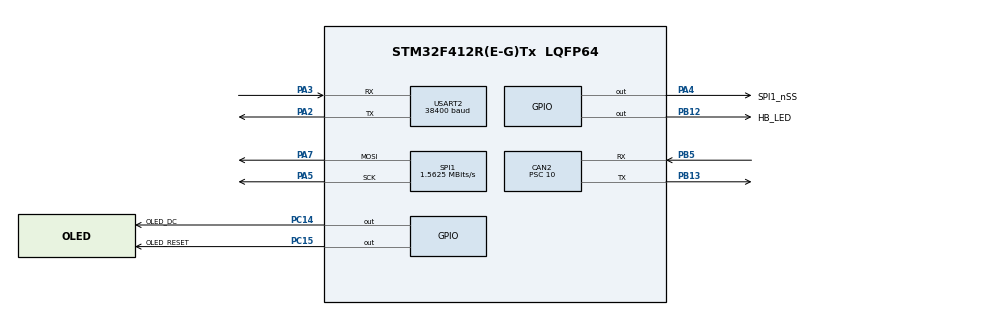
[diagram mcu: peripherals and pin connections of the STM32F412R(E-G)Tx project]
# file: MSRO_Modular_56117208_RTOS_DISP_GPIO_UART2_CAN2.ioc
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CAN2.BS1=CAN_BS1_16TQ
CAN2.BS2=CAN_BS2_3TQ
CAN2.CalculateTimeQuantum=200.0
CAN2.NART=ENABLE
CAN2.Prescaler=10
Dma.Request0=USART2_TX
Dma.Request1=SPI1_TX
Dma.SPI1_TX.1.Direction=DMA_MEMORY_TO_PERIPH
Dma.SPI1_TX.1.FIFOMode=DMA_FIFOMODE_DISABLE
Dma.SPI1_TX.1.Instance=DMA2_Stream2
Dma.SPI1_TX.1.MemDataAlignment=DMA_MDATAALIGN_BYTE
Dma.SPI1_TX.1.MemInc=DMA_MINC_ENABLE
Dma.SPI1_TX.1.Mode=DMA_NORMAL
Dma.SPI1_TX.1.PeriphDataAlignment=DMA_PDATAALIGN_BYTE
Dma.SPI1_TX.1.PeriphInc=DMA_PINC_DISABLE
Dma.SPI1_TX.1.Priority=DMA_PRIORITY_LOW
Dma.USART2_TX.0.Direction=DMA_MEMORY_TO_PERIPH
Dma.USART2_TX.0.FIFOMode=DMA_FIFOMODE_DISABLE
Dma.USART2_TX.0.Instance=DMA1_Stream6
Dma.USART2_TX.0.MemDataAlignment=DMA_MDATAALIGN_BYTE
Dma.USART2_TX.0.MemInc=DMA_MINC_ENABLE
Dma.USART2_TX.0.Mode=DMA_NORMAL
Dma.USART2_TX.0.PeriphDataAlignment=DMA_PDATAALIGN_BYTE
Dma.USART2_TX.0.PeriphInc=DMA_PINC_DISABLE
Dma.USART2_TX.0.Priority=DMA_PRIORITY_LOW
FREERTOS.Mutexes01=uart2_tx_buffer_mutex,Dynamic,NULL
FREERTOS.Queues01=UartRxQueue,64,uint8_t,0,Dynamic,NULL,NULL;CanRxQueue,16,can_msg_t,0,Dynamic,NULL,NULL;DisplayQueue,8,display_mode_t,0,Dynamic,NULL,NULL
FREERTOS.Tasks01=defaultTask,0,128,StartDefaultTask,Default,NULL,Dynamic,NULL,NULL;UartTask,0,128,uart_task,Default,NULL,Dynamic,NULL,NULL;CanTask,0,128,can_task_run,Default,NULL,Dynamic,NULL,NULL;DisplayTask,-3,128,display_task,Default,NULL,Dynamic,NULL,NULL
Mcu.Family=STM32F4
Mcu.Name=STM32F412R(E-G)Tx
Mcu.Package=LQFP64
NVIC.CAN2_RX0_IRQn=true\:5\:0\:false\:false\:true\:true\:true
NVIC.CAN2_RX1_IRQn=true\:5\:0\:false\:false\:true\:true\:true
NVIC.DMA1_Stream6_IRQn=true\:5\:0\:false\:false\:true\:true\:false
NVIC.DMA2_Stream2_IRQn=true\:5\:0\:false\:false\:true\:true\:false
NVIC.PriorityGroup=NVIC_PRIORITYGROUP_4
NVIC.TIM1_BRK_TIM9_IRQn=true\:0\:0\:false\:false\:true\:false\:false
NVIC.TimeBase=TIM1_BRK_TIM9_IRQn
NVIC.TimeBaseIP=TIM9
NVIC.USART2_IRQn=true\:5\:0\:false\:false\:true\:true\:true
PA2.Mode=Asynchronous
PA2.Signal=USART2_TX
PA3.Mode=Asynchronous
PA3.Signal=USART2_RX
PA4.GPIO_Label=SPI1_nSS
PA4.PinState=GPIO_PIN_SET
PA4.Signal=GPIO_Output
PA5.Mode=TX_Only_Simplex_Unidirect_Master
PA5.Signal=SPI1_SCK
PA7.Mode=TX_Only_Simplex_Unidirect_Master
PA7.Signal=SPI1_MOSI
PB12.GPIO_Label=HB_LED
PB12.Signal=GPIO_Output
PB13.Mode=Slave
PB13.Signal=CAN2_TX
PB5.Mode=Slave
PB5.Signal=CAN2_RX
PC14-OSC32_IN.GPIO_Label=OLED_DC
PC14-OSC32_IN.Signal=GPIO_Output
PC15-OSC32_OUT.GPIO_Label=OLED_RESET
PC15-OSC32_OUT.Signal=GPIO_Output
PH0\ -\ OSC_IN.Mode=HSE-External-Oscillator
PH0\ -\ OSC_IN.Signal=RCC_OSC_IN
PH1\ -\ OSC_OUT.Mode=HSE-External-Oscillator
PH1\ -\ OSC_OUT.Signal=RCC_OSC_OUT
ProjectManager.HeapSize=0x200
ProjectManager.StackSize=0x400
ProjectManager.TargetToolchain=TrueSTUDIO
RCC.AHBFreq_Value=100000000
RCC.APB1CLKDivider=RCC_HCLK_DIV2
RCC.APB1Freq_Value=50000000
RCC.APB1TimFreq_Value=100000000
RCC.APB2Freq_Value=100000000
RCC.APB2TimFreq_Value=100000000
RCC.CortexFreq_Value=100000000
RCC.HCLKFreq_Value=100000000
RCC.HSE_VALUE=12000000
RCC.PLLM=6
RCC.PLLN=100
RCC.PLLSourceVirtual=RCC_PLLSOURCE_HSE
RCC.SYSCLKFreq_VALUE=100000000
RCC.SYSCLKSource=RCC_SYSCLKSOURCE_PLLCLK
RCC.USBFreq_Value=100000000
RCC.VCOOutputFreq_Value=200000000
SPI1.BaudRatePrescaler=SPI_BAUDRATEPRESCALER_64
SPI1.CLKPhase=SPI_PHASE_2EDGE
SPI1.CLKPolarity=SPI_POLARITY_HIGH
SPI1.CalculateBaudRate=1.5625 MBits/s
SPI1.Direction=SPI_DIRECTION_2LINES
SPI1.Mode=SPI_MODE_MASTER
SPI1.VirtualType=VM_MASTER
USART2.BaudRate=38400
USART2.VirtualMode=VM_ASYNC
VP_FREERTOS_VS_ENABLE.Mode=Enabled
VP_SYS_VS_tim9.Mode=TIM9
board=custom

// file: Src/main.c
/* USER CODE BEGIN Header */
/**
  ******************************************************************************
  * @file           : main.c
  * @brief          : Main program body
  ******************************************************************************
  * This notice applies to any and all portions of this file
  * that are not between comment pairs USER CODE BEGIN and
  * USER CODE END. Other portions of this file, whether
  * inserted by the user or by software development tools
  * are owned by their respective copyright owners.
  *
  * Copyright (c) 2019 STMicroelectronics International N.V.
  * All rights reserved.
  *
  * Redistribution and use in source and binary forms, with or without
  * modification, are permitted, provided that the following conditions are met:
  *
  * 1. Redistribution of source code must retain the above copyright notice,
  *    this list of conditions and the following disclaimer.
  * 2. Redistributions in binary form must reproduce the above copyright notice,
  *    this list of conditions and the following disclaimer in the documentation
  *    and/or other materials provided with the distribution.
  * 3. Neither the name of STMicroelectronics nor the names of other
  *    contributors to this software may be used to endorse or promote products
  *    derived from this software without specific written permission.
  * 4. This software, including modifications and/or derivative works of this
  *    software, must execute solely and exclusively on microcontroller or
  *    microprocessor devices manufactured by or for STMicroelectronics.
  * 5. Redistribution and use of this software other than as permitted under
  *    this license is void and will automatically terminate your rights under
  *    this license.
  *
  * THIS SOFTWARE IS PROVIDED BY STMICROELECTRONICS AND CONTRIBUTORS "AS IS"
  * AND ANY EXPRESS, IMPLIED OR STATUTORY WARRANTIES, INCLUDING, BUT NOT
  * LIMITED TO, THE IMPLIED WARRANTIES OF MERCHANTABILITY, FITNESS FOR A
  * PARTICULAR PURPOSE AND NON-INFRINGEMENT OF THIRD PARTY INTELLECTUAL PROPERTY
  * RIGHTS ARE DISCLAIMED TO THE FULLEST EXTENT PERMITTED BY LAW. IN NO EVENT
  * SHALL STMICROELECTRONICS OR CONTRIBUTORS BE LIABLE FOR ANY DIRECT, INDIRECT,
  * INCIDENTAL, SPECIAL, EXEMPLARY, OR CONSEQUENTIAL DAMAGES (INCLUDING, BUT NOT
  * LIMITED TO, PROCUREMENT OF SUBSTITUTE GOODS OR SERVICES; LOSS OF USE, DATA,
  * OR PROFITS; OR BUSINESS INTERRUPTION) HOWEVER CAUSED AND ON ANY THEORY OF
  * LIABILITY, WHETHER IN CONTRACT, STRICT LIABILITY, OR TORT (INCLUDING
  * NEGLIGENCE OR OTHERWISE) ARISING IN ANY WAY OUT OF THE USE OF THIS SOFTWARE,
  * EVEN IF ADVISED OF THE POSSIBILITY OF SUCH DAMAGE.
  *
  ******************************************************************************
  */
/* USER CODE END Header */

#include "main.h"
#include "cmsis_os.h"
#include "can.h"
#include "dma.h"
#include "spi.h"
#include "usart.h"
#include "gpio.h"

/* USER CODE BEGIN Includes */
#include "stdbool.h"
#include "stdlib.h"
#include "stdio.h"
#include "string.h"

#include "oled.h"
#include "display.h"
/* USER CODE END Includes */

/* USER CODE BEGIN PV */
bool hb_led_state = false;

/* USER CODE END PV */

void SystemClock_Config(void);
void MX_FREERTOS_Init(void);

int main(void)
{

  /* MCU Configuration--------------------------------------------------------*/

  /* Reset of all peripherals, Initializes the Flash interface and the Systick. */
  HAL_Init();

  /* Configure the system clock */
  SystemClock_Config();

  /* Initialize all configured peripherals */
  MX_GPIO_Init();
  MX_DMA_Init();
  MX_USART2_UART_Init();
  MX_CAN2_Init();
  MX_SPI1_Init();
  /* USER CODE BEGIN 2 */
  USART_DMA_Init();

  SPI_DMA_Init();

  CAN2_ConfigFilters();
  CAN2_Start();
  CAN2_ActivateNotification();

  OLED_Init(0);
  display_init();

  /* USER CODE END 2 */

  /* Call init function for freertos objects (in freertos.c) */
  MX_FREERTOS_Init();

  /* Start scheduler */
  osKernelStart();

  /* We should never get here as control is now taken by the scheduler */

  /* Infinite loop */
  while (1)
  {

  }
}

void SystemClock_Config(void)
{
  LL_FLASH_SetLatency(LL_FLASH_LATENCY_3);

  if(LL_FLASH_GetLatency() != LL_FLASH_LATENCY_3)
  {
  Error_Handler();
  }
  LL_PWR_SetRegulVoltageScaling(LL_PWR_REGU_VOLTAGE_SCALE1);
  LL_RCC_HSE_Enable();

   /* Wait till HSE is ready */
  while(LL_RCC_HSE_IsReady() != 1)
  {

  }
  LL_RCC_PLL_ConfigDomain_SYS(LL_RCC_PLLSOURCE_HSE, LL_RCC_PLLM_DIV_6, 100, LL_RCC_PLLP_DIV_2);
  LL_RCC_PLL_Enable();

   /* Wait till PLL is ready */
  while(LL_RCC_PLL_IsReady() != 1)
  {

  }
  LL_RCC_SetAHBPrescaler(LL_RCC_SYSCLK_DIV_1);
  LL_RCC_SetAPB1Prescaler(LL_RCC_APB1_DIV_2);
  LL_RCC_SetAPB2Prescaler(LL_RCC_APB2_DIV_1);
  LL_RCC_SetSysClkSource(LL_RCC_SYS_CLKSOURCE_PLL);

   /* Wait till System clock is ready */
  while(LL_RCC_GetSysClkSource() != LL_RCC_SYS_CLKSOURCE_STATUS_PLL)
  {

  }
  LL_Init1msTick(100000000);
  LL_SYSTICK_SetClkSource(LL_SYSTICK_CLKSOURCE_HCLK);
  LL_SetSystemCoreClock(100000000);
  LL_RCC_SetTIMPrescaler(LL_RCC_TIM_PRESCALER_TWICE);
}

void HAL_TIM_PeriodElapsedCallback(TIM_HandleTypeDef *htim)
{
  if (htim->Instance == TIM9) {
    HAL_IncTick();
  }
}

void Error_Handler(void)
{
}

/************************ (C) COPYRIGHT STMicroelectronics *****END OF FILE****/

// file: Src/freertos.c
/* USER CODE BEGIN Header */
/**
  ******************************************************************************
  * File Name          : freertos.c
  * Description        : Code for freertos applications
  ******************************************************************************
  * This notice applies to any and all portions of this file
  * that are not between comment pairs USER CODE BEGIN and
  * USER CODE END. Other portions of this file, whether
  * inserted by the user or by software development tools
  * are owned by their respective copyright owners.
  *
  * Copyright (c) 2019 STMicroelectronics International N.V.
  * All rights reserved.
  *
  * Redistribution and use in source and binary forms, with or without
  * modification, are permitted, provided that the following conditions are met:
  *
  * 1. Redistribution of source code must retain the above copyright notice,
  *    this list of conditions and the following disclaimer.
  * 2. Redistributions in binary form must reproduce the above copyright notice,
  *    this list of conditions and the following disclaimer in the documentation
  *    and/or other materials provided with the distribution.
  * 3. Neither the name of STMicroelectronics nor the names of other
  *    contributors to this software may be used to endorse or promote products
  *    derived from this software without specific written permission.
  * 4. This software, including modifications and/or derivative works of this
  *    software, must execute solely and exclusively on microcontroller or
  *    microprocessor devices manufactured by or for STMicroelectronics.
  * 5. Redistribution and use of this software other than as permitted under
  *    this license is void and will automatically terminate your rights under
  *    this license.
  *
  * THIS SOFTWARE IS PROVIDED BY STMICROELECTRONICS AND CONTRIBUTORS "AS IS"
  * AND ANY EXPRESS, IMPLIED OR STATUTORY WARRANTIES, INCLUDING, BUT NOT
  * LIMITED TO, THE IMPLIED WARRANTIES OF MERCHANTABILITY, FITNESS FOR A
  * PARTICULAR PURPOSE AND NON-INFRINGEMENT OF THIRD PARTY INTELLECTUAL PROPERTY
  * RIGHTS ARE DISCLAIMED TO THE FULLEST EXTENT PERMITTED BY LAW. IN NO EVENT
  * SHALL STMICROELECTRONICS OR CONTRIBUTORS BE LIABLE FOR ANY DIRECT, INDIRECT,
  * INCIDENTAL, SPECIAL, EXEMPLARY, OR CONSEQUENTIAL DAMAGES (INCLUDING, BUT NOT
  * LIMITED TO, PROCUREMENT OF SUBSTITUTE GOODS OR SERVICES; LOSS OF USE, DATA,
  * OR PROFITS; OR BUSINESS INTERRUPTION) HOWEVER CAUSED AND ON ANY THEORY OF
  * LIABILITY, WHETHER IN CONTRACT, STRICT LIABILITY, OR TORT (INCLUDING
  * NEGLIGENCE OR OTHERWISE) ARISING IN ANY WAY OUT OF THE USE OF THIS SOFTWARE,
  * EVEN IF ADVISED OF THE POSSIBILITY OF SUCH DAMAGE.
  *
  ******************************************************************************
  */
/* USER CODE END Header */

#include "FreeRTOS.h"
#include "task.h"
#include "main.h"
#include "cmsis_os.h"

/* USER CODE BEGIN Includes */
#include "stdbool.h"
#include "can.h"
#include "oled.h"
#include "display.h"
/* USER CODE END Includes */

/* USER CODE BEGIN Variables */
extern bool		hb_led_state;

extern uint32_t	usart2_bytes_rcvd;
extern uint32_t	usart2_err_cnt;

extern uint32_t	can2_fifo0_msgs_rcvd;
extern uint32_t	can2_fifo1_msgs_rcvd;
extern uint32_t	can2_fifo0_err_cnt;
extern uint32_t	can2_fifo1_err_cnt;

/* USER CODE END Variables */
osThreadId defaultTaskHandle;
osThreadId UartTaskHandle;
osThreadId CanTaskHandle;
osThreadId DisplayTaskHandle;
osMessageQId UartRxQueueHandle;
osMessageQId CanRxQueueHandle;
osMessageQId DisplayQueueHandle;
osMutexId uart2_tx_buffer_mutexHandle;

void StartDefaultTask(void const * argument);
void uart_task(void const * argument);
void can_task_run(void const * argument);
void display_task(void const * argument);

void MX_FREERTOS_Init(void); /* (MISRA C 2004 rule 8.1) */

void MX_FREERTOS_Init(void) {

  /* Create the mutex(es) */
  /* definition and creation of uart2_tx_buffer_mutex */
  osMutexDef(uart2_tx_buffer_mutex);
  uart2_tx_buffer_mutexHandle = osMutexCreate(osMutex(uart2_tx_buffer_mutex));

  /* Create the thread(s) */
  /* definition and creation of defaultTask */
  osThreadDef(defaultTask, StartDefaultTask, osPriorityNormal, 0, 128);
  defaultTaskHandle = osThreadCreate(osThread(defaultTask), NULL);

  /* definition and creation of UartTask */
  osThreadDef(UartTask, uart_task, osPriorityNormal, 0, 128);
  UartTaskHandle = osThreadCreate(osThread(UartTask), NULL);

  /* definition and creation of CanTask */
  osThreadDef(CanTask, can_task_run, osPriorityNormal, 0, 128);
  CanTaskHandle = osThreadCreate(osThread(CanTask), NULL);

  /* definition and creation of DisplayTask */
  osThreadDef(DisplayTask, display_task, osPriorityIdle, 0, 128);
  DisplayTaskHandle = osThreadCreate(osThread(DisplayTask), NULL);

  /* Create the queue(s) */
  /* definition and creation of UartRxQueue */
  osMessageQDef(UartRxQueue, 64, uint8_t);
  UartRxQueueHandle = osMessageCreate(osMessageQ(UartRxQueue), NULL);

  /* definition and creation of CanRxQueue */
  osMessageQDef(CanRxQueue, 16, can_msg_t);
  CanRxQueueHandle = osMessageCreate(osMessageQ(CanRxQueue), NULL);

  /* definition and creation of DisplayQueue */
  osMessageQDef(DisplayQueue, 8, display_mode_t);
  DisplayQueueHandle = osMessageCreate(osMessageQ(DisplayQueue), NULL);

}

void StartDefaultTask(void const * argument)
{

  /* USER CODE BEGIN StartDefaultTask */
  /* Infinite loop */
	uint32_t 		u32_cnt = 0;
	uint8_t 		nr_frame = 1;
	display_mode_t	disp_mode;
	uint8_t 	nr_modes_sent = 0;
	for(;;)
	{
		if (!hb_led_state)
	 	{
			LL_GPIO_SetOutputPin(HB_LED_GPIO_Port, HB_LED_Pin);
			hb_led_state = true;
	 	}
		else
		{
			LL_GPIO_ResetOutputPin(HB_LED_GPIO_Port, HB_LED_Pin);
			hb_led_state = false;
		}
		if ((u32_cnt % 25) == 0)
		{
			switch(nr_frame)
			{
				case 1:
					//	oled_clear_screen (true);
					nr_frame = 2;
					disp_mode = DISPLAY_MODE_PURGE;
					break;
				case 2:
					//	oled_fill_screen(true);
					nr_frame = 3;
					disp_mode = DISPLAY_MODE_CHARGING;
					break;
				case 3:
					nr_frame = 4;
					//	oled_draw_test_pattern_1(true);
					disp_mode = DISPLAY_MODE_ESTOP;
					break;
				case 4:
					nr_frame = 5;
					//	oled_draw_test_pattern_2(true);
					disp_mode = DISPLAY_MODE_RTF;
					break;
				case 5:
					nr_frame = 1;
					//	oled_draw_test_pattern_2(true);
					disp_mode = DISPLAY_MODE_RTF;
					break;
				default:
					nr_frame = 1;
			};

			xQueueSendToBack(DisplayQueueHandle, &disp_mode, 1000);
			xSemaphoreTake(uart2_tx_buffer_mutexHandle, portMAX_DELAY);
			printf ("main loop run(%ld), DISPLAY_MODE %d sent\n", u32_cnt, disp_mode);
			xSemaphoreGive(uart2_tx_buffer_mutexHandle);
		}

		xSemaphoreTake(uart2_tx_buffer_mutexHandle, portMAX_DELAY);
		printf ("main loop run(%ld), U2_Rx: %ld, U2_Err: %ld, C0_Rx: %ld, C1_Rx: %ld, C_Err: %ld\n", ++u32_cnt, usart2_bytes_rcvd, usart2_err_cnt, can2_fifo0_msgs_rcvd, can2_fifo1_msgs_rcvd, (can2_fifo0_err_cnt+can2_fifo1_err_cnt));
		xSemaphoreGive(uart2_tx_buffer_mutexHandle);

		osDelay(500);
	}
}

void uart_task(void const * argument)
{
  /* USER CODE BEGIN uart_task */
	uint8_t queue_rx_data;
	/* Infinite loop */
	for(;;)
	{
		if (xQueueReceive(UartRxQueueHandle, &queue_rx_data, 5000) == pdPASS)
		{
			xSemaphoreTake(uart2_tx_buffer_mutexHandle, portMAX_DELAY);
			printf ("-%c-\n", queue_rx_data);
			xSemaphoreGive(uart2_tx_buffer_mutexHandle);
		}
		else
		{
			xSemaphoreTake(uart2_tx_buffer_mutexHandle, portMAX_DELAY);
			printf ("-No Rx data-\n");
			xSemaphoreGive(uart2_tx_buffer_mutexHandle);
		}
	}

  /* USER CODE END uart_task */
}

void can_task_run(void const * argument)
{
  /* USER CODE BEGIN can_task_run */
  /* Infinite loop */
	HAL_StatusTypeDef 	hal_sts;
	uint32_t 			u32_cnt = 0;
	can_msg_t			rx_msg;
	uint16_t			n;
	for(;;)
	{
		if (xQueueReceive(CanRxQueueHandle, &rx_msg, 100) == pdPASS)
		{
			xSemaphoreTake(uart2_tx_buffer_mutexHandle, portMAX_DELAY);
			printf ("-CAN-Rx(), DLC=%d,", rx_msg.dlc);
			for (n=0; n<rx_msg.dlc; n++)
			{
				printf (" %02X", rx_msg.data.byte[n]);
			}
			printf ("-\n");
			xSemaphoreGive(uart2_tx_buffer_mutexHandle);
		}
		else
		{
			if ((++u32_cnt % 10) == 0)
			{
				hal_sts = CAN2_SendPDO1 (u32_cnt);
				if (hal_sts != HAL_OK)
				{
					xSemaphoreTake(uart2_tx_buffer_mutexHandle, portMAX_DELAY);
					printf("CAN bad transmit: %ld\n", u32_cnt);
					xSemaphoreGive(uart2_tx_buffer_mutexHandle);
				}
//		  	  	else
//		  	  	{
//			    	xSemaphoreTake(uart2_tx_buffer_mutexHandle, portMAX_DELAY);
//			    	printf("CAN good transmit: %ld\n", u32_cnt);
//			    	xSemaphoreGive(uart2_tx_buffer_mutexHandle);
//		  	  	}
		  }
	  }
  }
  /* USER CODE END can_task_run */
}

void display_task(void const * argument)
{
  /* USER CODE BEGIN display_task */
	run_display_task (argument);
  /* USER CODE END display_task */
}

/************************ (C) COPYRIGHT STMicroelectronics *****END OF FILE****/
